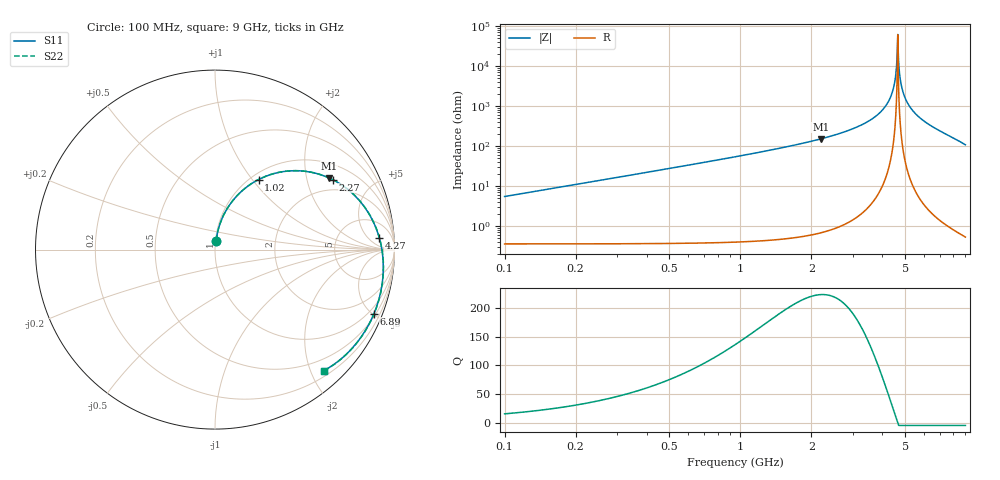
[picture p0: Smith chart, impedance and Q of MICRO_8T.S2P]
! Coilcraft 1606-8 Micro Spring Air Core Inductor
! 16 May 2003
# MHZ S MA R 50
!Freq  MagS11  AngS11  MagS21  AngS21  MagS12  AngS12  MagS22  AngS22
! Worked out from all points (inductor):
!   891 points, 100 MHz to 9 GHz, reference 50 ohm
!   read as 1/Y11, port 2 shorted: L = 8.6 nH near 140 MHz
!   highest Q = 224 at 2.19 GHz (marker M1), where L = 10.9 nH
!   self-resonance near 4.64 GHz
!   S11 on the Smith chart (normalised r, x): 100 MHz: 1.01, +0.10; 1.02 GHz: 1.09, +1.07; 2.27 GHz: 1.55, +2.88; 4.27 GHz: 14, +11; 6.89 GHz: 0.63, -5.07; 9 GHz: 0.29, -2.21
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100  0.05044 82.7  0.9952 -3.3  0.9952 -3.3  0.05049 82.7
180  0.0904 81.9  0.9924 -5.9  0.9924 -5.9  0.09049 81.9
240  0.1201 80.5  0.9893 -7.9  0.9893 -7.9  0.1202 80.5
320  0.1593 78.3  0.9838 -10.4  0.9838 -10.4  0.1595 78.3
420  0.2073 75.4  0.9748 -13.6  0.9748 -13.6  0.2075 75.4
540  0.263 71.8  0.9614 -17.4  0.9614 -17.4  0.2632 71.8
680  0.325 67.7  0.9424 -21.7  0.9424 -21.7  0.3253 67.7
1020  0.4594 58.1  0.885 -31.5  0.885 -31.5  0.4599 58.1
1290  0.5489 51.2  0.8328 -38.5  0.8328 -38.5  0.5494 51.2
1590  0.6311 44.1  0.7727 -45.6  0.7727 -45.6  0.6317 44.1
2190  0.7503 32.2  0.6582 -57.7  0.6582 -57.7  0.751 32.2
2270  0.7625 30.7  0.6441 -59.1  0.6441 -59.1  0.7633 30.7
3070  0.8518 18.4  0.5209 -71.5  0.5209 -71.5  0.8527 18.4
3640  0.8902 11.1  0.4523 -78.8  0.4523 -78.8  0.8911 11.1
4270  0.9181 4.0  0.3926 -85.9  0.3926 -85.9  0.919 4.0
4550  0.9271 1.0  0.3709 -88.9  0.3709 -88.9  0.928 1.0
5280  0.9434 -6.3  0.3266 -96.2  0.3266 -96.2  0.9443 -6.3
6040  0.9524 -13.7  0.2986 -103.5  0.2986 -103.5  0.9533 -13.7
6890  0.9548 -22.0  0.2897 -111.8  0.2897 -111.8  0.9556 -22.0
7520  0.951 -28.6  0.3006 -118.4  0.3006 -118.4  0.9519 -28.6
8290  0.937 -37.8  0.3402 -127.6  0.3402 -127.6  0.9378 -37.8
9000  0.9075 -48.0  0.4111 -137.9  0.4111 -137.9  0.9082 -48.0
